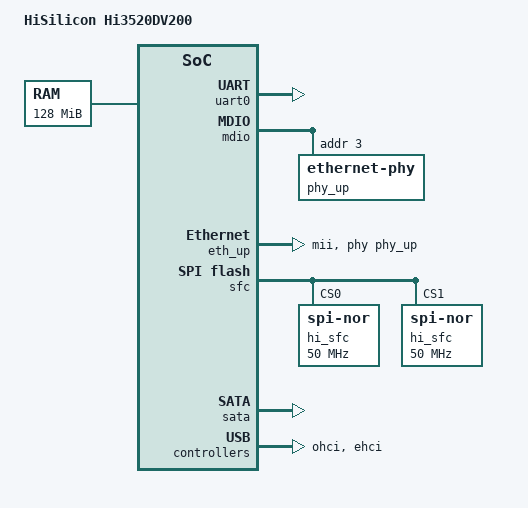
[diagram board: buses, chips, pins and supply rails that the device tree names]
// SPDX-License-Identifier: (GPL-2.0-or-later OR MIT)
/*
 * Any Hi3520DV200 board: what one kernel image can assume about a board it
 * has never seen. OpenIPC's neo firmware appends this DT for the whole SoC,
 * so it describes nothing that is wiring of a single board.
 *
 * Boards with a DT of their own (hi3520dv200-nbd6808t.dts) include this
 * and add what they have.
 */

/dts-v1/;
#include "hi3520dv200.dtsi"

/ {
	model = "HiSilicon Hi3520DV200";
	compatible = "hisilicon,hi3520dv200";

	chosen {
		stdout-path = "serial0:115200n8";
	};

	/*
	 * The smallest DDR fitted to these boards. The bootloader's ATAG_MEM
	 * replaces this node (ARM_ATAG_DTB_COMPAT), so a 256 MB board still
	 * gets all of it; this is only the fallback. There is no carve-out:
	 * without the vendor MPP nothing else claims memory.
	 */
	memory@80000000 {
		device_type = "memory";
		reg = <0x80000000 0x8000000>;
	};
};

&uart0 {
	status = "okay";
};

/*
 * The RJ45 is on the up port through the SoC's internal PHY, in MII. The
 * PHY's address is not strapped: the MDIO driver writes this one into its
 * control register.
 */
&mdio {
	status = "okay";

	phy_up: ethernet-phy@3 {
		reg = <3>;
	};
};

&eth_up {
	phy-handle = <&phy_up>;
	phy-mode = "mii";
	status = "okay";
};

/*
 * The SFC has two chip selects and boards differ in which one carries the
 * NOR, so both are described. The empty one fails its JEDEC probe and is
 * left alone. Both take the label the bootloaders name in mtdparts=, and no
 * fixed partitions are given: the bootloader's command line is the layout.
 * A board with both selects fitted would partition both chips under that
 * one name, so it needs a DT of its own that disables the other.
 */
&sfc {
	status = "okay";

	flash@0 {
		compatible = "jedec,spi-nor";
		reg = <0>;
		label = "hi_sfc";
		spi-max-frequency = <50000000>;
	};

	flash@1 {
		compatible = "jedec,spi-nor";
		reg = <1>;
		label = "hi_sfc";
		spi-max-frequency = <50000000>;
	};
};

/*
 * The value XiongMai's firmware writes, which is what these boards are
 * built around and the only one tested on hardware (NBD6808T-PL: the
 * Hi3520D reference value leaves its link resetting). A board that needs
 * the reference value overrides this.
 */
&sata {
	hisilicon,phy-config = <0x0e262709>;
	status = "okay";
};

&ohci {
	status = "okay";
};

&ehci {
	status = "okay";
};
